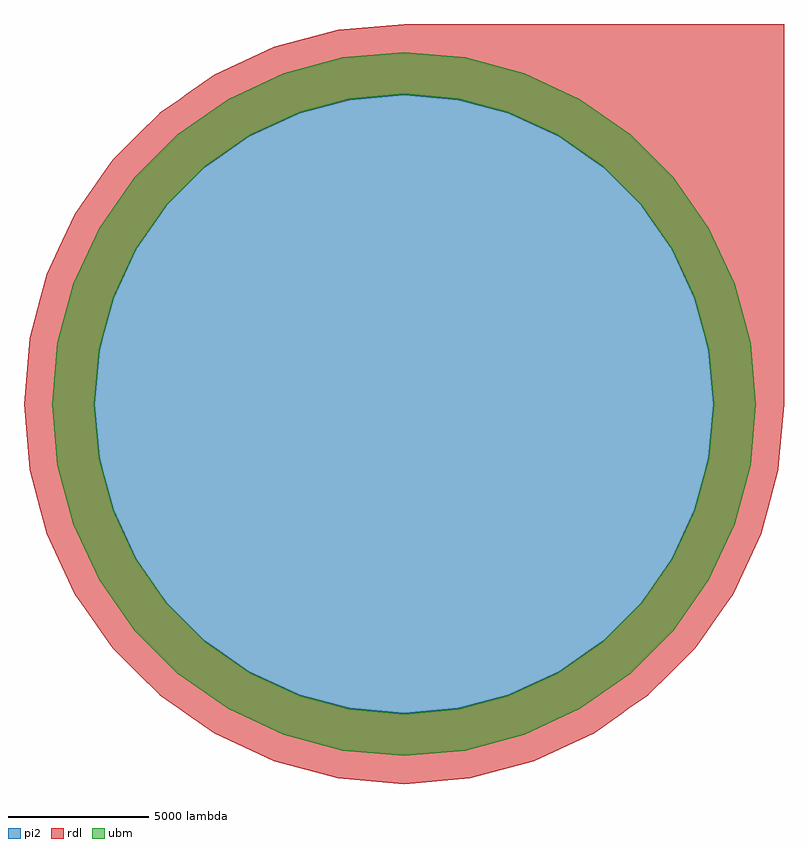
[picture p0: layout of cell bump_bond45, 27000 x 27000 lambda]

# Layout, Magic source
magic
tech micross
magscale 1 2
<< rdl >>
tri -4689 26590 0 27000 se
rect 0 26590 27000 27000
tri -9235 25372 -4689 26590 se
rect -4689 25372 27000 26590
tri -13500 23383 -9235 25372 se
rect -9235 23383 27000 25372
tri -15475 22000 -13500 23383 se
rect -13500 22000 27000 23383
tri -15951 21666 -15475 22000 se
rect -15475 21666 -3820 22000
tri -3820 21666 0 22000 nw
tri 0 21666 3820 22000 ne
rect 3820 21666 27000 22000
tri -17355 20683 -15951 21666 se
rect -15951 20683 -7487 21666
tri -7487 20683 -3820 21666 nw
tri 3820 20683 7487 21666 ne
rect 7487 20683 27000 21666
tri -17365 20673 -17355 20683 se
rect -17355 20673 -7524 20683
tri -7524 20673 -7487 20683 nw
tri 7487 20673 7524 20683 ne
rect 7524 20673 27000 20683
tri -18985 19053 -17365 20673 se
rect -17365 19053 -11000 20673
tri -11000 19053 -7524 20673 nw
tri 7524 19053 11000 20673 ne
rect 11000 19053 27000 20673
tri -20683 17355 -18985 19053 se
rect -18985 17355 -13424 19053
tri -13424 17355 -11000 19053 nw
tri 11000 17355 13424 19053 ne
rect 13424 17355 27000 19053
tri -21035 16853 -20683 17355 se
rect -20683 16853 -14141 17355
tri -14141 16853 -13424 17355 nw
tri 13424 16853 14141 17355 ne
rect 14141 16853 27000 17355
tri -22934 14141 -21035 16852 se
rect -21035 14141 -16853 16853
tri -16853 14141 -14141 16853 nw
tri 14141 14141 16853 16853 ne
rect 16853 14141 27000 16853
tri -23383 13500 -22934 14141 se
rect -22934 13500 -17302 14141
tri -17302 13500 -16853 14141 nw
tri 16853 13500 17302 14141 ne
rect 17302 13500 27000 14141
tri -24549 11000 -23383 13500 se
rect -23383 11000 -19053 13500
tri -19053 11000 -17302 13500 nw
tri 17302 11000 19053 13500 ne
rect 19053 11000 27000 13500
tri -25372 9235 -24549 11000 se
rect -24549 9235 -19876 11000
tri -19876 9235 -19053 11000 nw
tri 19053 9235 19876 11000 ne
rect 19876 9235 27000 11000
tri -25830 7526 -25372 9235 se
rect -25372 7526 -20673 9235
rect -25830 7524 -20673 7526
tri -20673 7524 -19876 9235 nw
tri 19876 7524 20673 9235 ne
rect 20673 7524 27000 9235
tri -26590 4689 -25830 7524 se
rect -25830 4689 -21433 7524
tri -21433 4689 -20673 7524 nw
tri 20673 4689 21433 7524 ne
rect 21433 4689 27000 7524
tri -26666 3820 -26590 4689 se
rect -26590 3820 -21666 4689
tri -21666 3820 -21433 4689 nw
tri 21433 3820 21666 4689 ne
rect 21666 3820 27000 4689
tri -27000 0 -26666 3820 se
tri -27000 -3820 -26666 0 ne
rect -26666 -3820 -22000 3820
tri -22000 0 -21666 3820 nw
tri -22000 -3820 -21666 0 sw
tri 21666 0 22000 3820 ne
rect 22000 0 27000 3820
tri 21666 -3820 22000 0 se
rect 22000 -3820 26666 0
tri 26666 -3820 27000 0 nw
tri -26666 -4688 -26590 -3820 ne
rect -26590 -4688 -21666 -3820
tri -21666 -4688 -21433 -3820 sw
tri -26590 -7522 -25831 -4688 ne
rect -25831 -7524 -21433 -4688
tri 21433 -4688 21666 -3820 se
rect 21666 -4688 26590 -3820
rect 21433 -4689 26590 -4688
tri 26590 -4689 26666 -3820 nw
tri -21433 -7524 -20673 -4689 sw
tri 20673 -7524 21433 -4689 se
rect 21433 -7524 25830 -4689
tri 25830 -7524 26590 -4689 nw
tri -25831 -9235 -25372 -7524 ne
rect -25372 -9235 -20673 -7524
tri -20673 -9235 -19876 -7524 sw
tri 19876 -9235 20673 -7524 se
rect 20673 -7526 25830 -7524
rect 20673 -9235 25372 -7526
tri 25372 -9235 25830 -7526 nw
tri -25372 -11000 -24549 -9235 ne
rect -24549 -11000 -19876 -9235
tri -19876 -11000 -19053 -9235 sw
tri 19053 -11000 19876 -9235 se
rect 19876 -11000 24549 -9235
tri 24549 -11000 25372 -9235 nw
tri -24549 -13500 -23383 -11000 ne
rect -23383 -13500 -19053 -11000
tri -19053 -13500 -17302 -11000 sw
tri 17302 -13500 19053 -11000 se
rect 19053 -13500 23383 -11000
tri 23383 -13500 24549 -11000 nw
tri -23383 -14140 -22935 -13500 ne
rect -22935 -14141 -17302 -13500
tri -17302 -14141 -16853 -13500 sw
tri 16853 -14141 17302 -13500 se
rect 17302 -14141 22934 -13500
tri 22934 -14141 23383 -13500 nw
tri -22935 -16853 -21035 -14141 ne
rect -21035 -16853 -16853 -14141
tri -16853 -16853 -14141 -14141 sw
tri 14141 -16853 16853 -14141 se
rect 16853 -16853 21035 -14141
tri 21035 -16852 22934 -14141 nw
tri -21035 -17355 -20683 -16853 ne
rect -20683 -17355 -14141 -16853
tri -14141 -17355 -13424 -16853 sw
tri 13424 -17355 14141 -16853 se
rect 14141 -17355 20683 -16853
tri 20683 -17355 21035 -16853 nw
tri -20683 -19053 -18985 -17355 ne
rect -18985 -19053 -13424 -17355
tri -13424 -19053 -11000 -17355 sw
tri 11000 -19053 13424 -17355 se
rect 13424 -19053 18985 -17355
tri 18985 -19053 20683 -17355 nw
tri -18985 -20673 -17365 -19053 ne
rect -17365 -20673 -11000 -19053
tri -11000 -20673 -7524 -19053 sw
tri 7524 -20673 11000 -19053 se
rect 11000 -20673 17365 -19053
tri 17365 -20673 18985 -19053 nw
tri -17365 -20683 -17355 -20673 ne
rect -17355 -20683 -7524 -20673
tri -7524 -20683 -7487 -20673 sw
tri 7487 -20683 7524 -20673 se
rect 7524 -20683 17355 -20673
tri 17355 -20683 17365 -20673 nw
tri -17355 -21666 -15952 -20683 ne
rect -15952 -21666 -7487 -20683
tri -7487 -21666 -3820 -20683 sw
tri 3820 -21666 7487 -20683 se
rect 7487 -21666 15951 -20683
tri 15951 -21666 17355 -20683 nw
tri -15952 -22000 -15475 -21666 ne
rect -15475 -22000 -3820 -21666
tri -3820 -22000 0 -21666 sw
tri 0 -22000 3820 -21666 se
rect 3820 -22000 15475 -21666
tri 15475 -22000 15951 -21666 nw
tri -15475 -23383 -13500 -22000 ne
rect -13500 -23383 13500 -22000
tri 13500 -23383 15475 -22000 nw
tri -13500 -25372 -9235 -23383 ne
rect -9235 -25372 9235 -23383
tri 9235 -25372 13500 -23383 nw
tri -9235 -26590 -4689 -25372 ne
rect -4689 -26590 4688 -25372
tri 4688 -26590 9235 -25372 nw
tri -4689 -27000 0 -26590 ne
tri 0 -27000 4688 -26590 nw
<< pi2 >>
tri -3820 21666 0 22000 se
tri 0 21666 3820 22000 sw
tri -7487 20683 -3820 21666 se
rect -3820 20683 3820 21666
tri 3820 20683 7487 21666 sw
tri -7524 20673 -7487 20683 se
rect -7487 20673 7487 20683
tri 7487 20673 7524 20683 sw
tri -11000 19053 -7524 20673 se
rect -7524 19053 7524 20673
tri 7524 19053 11000 20673 sw
tri -13424 17355 -11000 19053 se
rect -11000 17355 11000 19053
tri 11000 17355 13424 19053 sw
tri -14141 16853 -13424 17355 se
rect -13424 16853 13424 17355
tri 13424 16853 14141 17355 sw
tri -16853 14141 -14141 16853 se
rect -14141 14141 14141 16853
tri 14141 14141 16853 16853 sw
tri -17302 13500 -16853 14141 se
rect -16853 13500 16853 14141
tri 16853 13500 17302 14141 sw
tri -19053 11000 -17302 13500 se
rect -17302 11000 17302 13500
tri 17302 11000 19053 13500 sw
tri -19876 9235 -19053 11000 se
rect -19053 9235 19053 11000
tri 19053 9235 19876 11000 sw
tri -20673 7524 -19876 9235 se
rect -19876 7524 19876 9235
tri 19876 7524 20673 9235 sw
tri -21433 4689 -20673 7524 se
rect -20673 4689 20673 7524
tri 20673 4689 21433 7524 sw
tri -21666 3820 -21433 4689 se
rect -21433 3820 21433 4689
tri 21433 3820 21666 4689 sw
tri -22000 0 -21666 3820 se
tri -22000 -3820 -21666 0 ne
rect -21666 -3820 21666 3820
tri 21666 0 22000 3820 sw
tri 21666 -3820 22000 0 nw
tri -21666 -4688 -21433 -3820 ne
rect -21433 -4689 21433 -3820
tri 21433 -4688 21666 -3820 nw
tri -21433 -7524 -20673 -4689 ne
rect -20673 -7524 20673 -4689
tri 20673 -7524 21433 -4689 nw
tri -20673 -9235 -19876 -7524 ne
rect -19876 -9235 19876 -7524
tri 19876 -9235 20673 -7524 nw
tri -19876 -11000 -19053 -9235 ne
rect -19053 -11000 19053 -9235
tri 19053 -11000 19876 -9235 nw
tri -19053 -13500 -17302 -11000 ne
rect -17302 -13500 17302 -11000
tri 17302 -13500 19053 -11000 nw
tri -17302 -14141 -16853 -13500 ne
rect -16853 -14141 16853 -13500
tri 16853 -14141 17302 -13500 nw
tri -16853 -16853 -14141 -14141 ne
rect -14141 -16853 14141 -14141
tri 14141 -16853 16853 -14141 nw
tri -14141 -17355 -13424 -16853 ne
rect -13424 -17355 13424 -16853
tri 13424 -17355 14141 -16853 nw
tri -13424 -19053 -11000 -17355 ne
rect -11000 -19053 11000 -17355
tri 11000 -19053 13424 -17355 nw
tri -11000 -20673 -7524 -19053 ne
rect -7524 -20673 7524 -19053
tri 7524 -20673 11000 -19053 nw
tri -7524 -20683 -7487 -20673 ne
rect -7487 -20683 7487 -20673
tri 7487 -20683 7524 -20673 nw
tri -7487 -21666 -3820 -20683 ne
rect -3820 -21666 3820 -20683
tri 3820 -21666 7487 -20683 nw
tri -3820 -22000 0 -21666 ne
tri 0 -22000 3820 -21666 nw
<< ubm >>
tri -4341 24620 0 25000 se
tri 0 24620 4341 25000 sw
tri -8551 23492 -4341 24620 se
rect -4341 23492 4341 24620
tri 4341 23492 8551 24620 sw
tri -12500 21651 -8551 23492 se
rect -8551 22000 8551 23492
rect -8551 21666 -3820 22000
tri -3820 21666 0 22000 nw
tri 0 21666 3820 22000 ne
rect 3820 21666 8551 22000
rect -8551 21651 -3876 21666
tri -3876 21651 -3820 21666 nw
tri 3820 21651 3875 21666 ne
rect 3875 21651 8551 21666
tri 8551 21651 12500 23492 sw
tri -16070 19151 -12500 21651 se
rect -12500 20673 -7524 21651
tri -7524 20673 -3876 21651 nw
tri 3875 20673 7524 21651 ne
rect 7524 20673 12500 21651
rect -12500 19151 -10790 20673
tri -10790 19151 -7524 20673 nw
tri 7524 19151 10789 20673 ne
rect 10789 19151 12500 20673
tri 12500 19151 16070 21651 sw
tri -18368 16853 -16070 19151 se
rect -16070 19053 -11000 19151
tri -11000 19053 -10790 19151 nw
tri 10789 19053 11000 19151 ne
rect 11000 19053 16070 19151
rect -16070 16853 -14141 19053
tri -14141 16853 -11000 19053 nw
tri 11000 16853 14141 19053 ne
rect 14141 16853 16070 19053
tri 16070 16853 18368 19151 sw
tri -19151 16070 -18368 16853 se
rect -18368 16070 -14924 16853
tri -14924 16070 -14141 16853 nw
tri 14141 16070 14924 16853 ne
rect 14924 16070 18368 16853
tri 18368 16070 19151 16853 sw
tri -21651 12500 -19151 16070 se
rect -19151 14141 -16853 16070
tri -16853 14141 -14924 16070 nw
tri 14924 14141 16853 16070 ne
rect 16853 14141 19151 16070
rect -19151 12500 -18002 14141
tri -18002 12501 -16853 14141 nw
tri 16853 12500 18002 14141 ne
rect 18002 12500 19151 14141
tri 19151 12500 21651 16070 sw
tri -23492 8551 -21651 12500 se
rect -21651 11000 -19053 12500
tri -19053 11000 -18002 12500 nw
tri 18002 11000 19053 12500 ne
rect 19053 11000 21651 12500
rect -21651 8551 -20194 11000
tri -20194 8552 -19053 11000 nw
tri 19053 8551 20194 11000 ne
rect 20194 8551 21651 11000
tri 21651 8551 23492 12500 sw
tri -24620 4341 -23492 8551 se
rect -23492 7524 -20673 8551
tri -20673 7524 -20194 8551 nw
tri 20194 7524 20673 8551 ne
rect 20673 7524 23492 8551
rect -23492 4341 -21526 7524
tri -21526 4342 -20673 7524 nw
tri 20673 4342 21526 7524 ne
tri -25000 0 -24620 4341 se
rect -24620 3820 -21666 4341
tri -21666 3820 -21526 4341 nw
rect 21526 4341 23492 7524
tri 23492 4341 24620 8551 sw
tri 21526 3820 21666 4341 ne
rect 21666 3820 24620 4341
tri -25000 -4341 -24620 0 ne
rect -24620 -3820 -22000 3820
tri -22000 0 -21666 3820 nw
tri -22000 -3820 -21666 0 sw
tri 21666 0 22000 3820 ne
tri 21666 -3820 22000 0 se
rect 22000 -3820 24620 3820
tri 24620 0 25000 4341 sw
rect -24620 -4339 -21666 -3820
tri -21666 -4339 -21527 -3820 sw
rect -24620 -4341 -21527 -4339
tri 21526 -4341 21666 -3820 se
rect 21666 -4341 24620 -3820
tri 24620 -4341 25000 0 nw
tri -24620 -8551 -23492 -4341 ne
rect -23492 -7524 -21527 -4341
tri -21527 -7524 -20673 -4341 sw
tri 20673 -7524 21526 -4342 se
rect 21526 -7524 23492 -4341
rect -23492 -8550 -20673 -7524
tri -20673 -8550 -20195 -7524 sw
rect -23492 -8551 -20195 -8550
tri 20194 -8551 20673 -7524 se
rect 20673 -8551 23492 -7524
tri 23492 -8551 24620 -4341 nw
tri -23492 -12500 -21651 -8551 ne
rect -21651 -11000 -20195 -8551
tri -20195 -11000 -19053 -8551 sw
tri 19053 -11000 20194 -8552 se
rect 20194 -11000 21651 -8551
rect -21651 -12500 -19053 -11000
tri -19053 -12500 -18003 -11000 sw
tri 18002 -12500 19053 -11000 se
rect 19053 -12500 21651 -11000
tri 21651 -12500 23492 -8551 nw
tri -21651 -16070 -19151 -12500 ne
rect -19151 -14141 -18003 -12500
tri -18003 -14141 -16853 -12500 sw
tri 16853 -14141 18002 -12501 se
rect 18002 -14141 19151 -12500
rect -19151 -16070 -16853 -14141
tri -16853 -16070 -14924 -14141 sw
tri 14924 -16070 16853 -14141 se
rect 16853 -16070 19151 -14141
tri 19151 -16070 21651 -12500 nw
tri -19151 -16853 -18368 -16070 ne
rect -18368 -16853 -14924 -16070
tri -14924 -16853 -14141 -16070 sw
tri 14141 -16853 14924 -16070 se
rect 14924 -16853 18368 -16070
tri 18368 -16853 19151 -16070 nw
tri -18368 -19151 -16070 -16853 ne
rect -16070 -19053 -14141 -16853
tri -14141 -19053 -11000 -16853 sw
tri 11000 -19053 14141 -16853 se
rect 14141 -19053 16070 -16853
rect -16070 -19151 -11000 -19053
tri -11000 -19151 -10790 -19053 sw
tri 10790 -19151 11000 -19053 se
rect 11000 -19151 16070 -19053
tri 16070 -19151 18368 -16853 nw
tri -16070 -21651 -12500 -19151 ne
rect -12500 -20673 -10790 -19151
tri -10790 -20673 -7524 -19151 sw
tri 7524 -20673 10790 -19151 se
rect 10790 -20673 12500 -19151
rect -12500 -21651 -7524 -20673
tri -7524 -21651 -3876 -20673 sw
tri 3876 -21651 7524 -20673 se
rect 7524 -21651 12500 -20673
tri 12500 -21651 16070 -19151 nw
tri -12500 -23492 -8551 -21651 ne
rect -8551 -21666 -3876 -21651
tri -3876 -21666 -3820 -21651 sw
tri 3820 -21666 3876 -21651 se
rect 3876 -21666 8551 -21651
rect -8551 -22000 -3820 -21666
tri -3820 -22000 0 -21666 sw
tri 0 -22000 3820 -21666 se
rect 3820 -22000 8551 -21666
rect -8551 -23492 8551 -22000
tri 8551 -23492 12500 -21651 nw
tri -8551 -24620 -4341 -23492 ne
rect -4341 -24620 4341 -23492
tri 4341 -24620 8551 -23492 nw
tri -4341 -25000 0 -24620 ne
tri 0 -25000 4341 -24620 nw
<< properties >>
string FIXED_BBOX -27000 -27000 27000 27000
<< end >>
